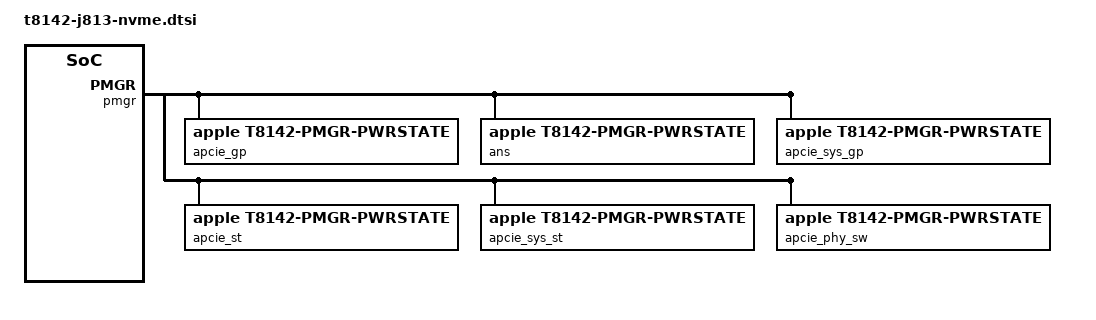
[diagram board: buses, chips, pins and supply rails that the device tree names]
// SPDX-License-Identifier: GPL-2.0+ OR MIT
/*
 * Apple MacBook Air (13-inch, M5) J813 with the internal ANS2 NVMe SSD.
 *
 * Addresses from the J813 ADT (/arm-io/ans, /arm-io/sart-ans, arm-io offset
 * 0x210000000). ANS is an ascwrap-v6 ASC with its mailbox at +0x8000, like the
 * SMC; the SART is coastguard sart-version 3. As on T8140, the NVMe registers
 * are used through the non-secure alias (ADT reg[9]) and the NVMMU through
 * the 0x60000 window (ADT reg[3]). iBoot leaves ANS running with the
 * controller disabled, so the driver wakes it with a fresh RTKit handshake.
 */


&pmgr {
	ps_apcie_gp: power-controller@2f0 {
		compatible = "apple,t8142-pmgr-pwrstate", "apple,t8103-pmgr-pwrstate";
		reg = <0x2f0 4>;
		#power-domain-cells = <0>;
		#reset-cells = <0>;
		label = "apcie_gp";
	};

	ps_ans: power-controller@300 {
		compatible = "apple,t8142-pmgr-pwrstate", "apple,t8103-pmgr-pwrstate";
		reg = <0x300 4>;
		#power-domain-cells = <0>;
		#reset-cells = <0>;
		label = "ans";
		apple,always-on; /* handed over running, cannot be reset */
	};

	ps_apcie_sys_gp: power-controller@408 {
		compatible = "apple,t8142-pmgr-pwrstate", "apple,t8103-pmgr-pwrstate";
		reg = <0x408 4>;
		#power-domain-cells = <0>;
		#reset-cells = <0>;
		label = "apcie_sys_gp";
		power-domains = <&ps_apcie_gp>;
	};

	ps_apcie_st: power-controller@410 {
		compatible = "apple,t8142-pmgr-pwrstate", "apple,t8103-pmgr-pwrstate";
		reg = <0x410 4>;
		#power-domain-cells = <0>;
		#reset-cells = <0>;
		label = "apcie_st";
		power-domains = <&ps_ans>;
	};

	ps_apcie_sys_st: power-controller@520 {
		compatible = "apple,t8142-pmgr-pwrstate", "apple,t8103-pmgr-pwrstate";
		reg = <0x520 4>;
		#power-domain-cells = <0>;
		#reset-cells = <0>;
		label = "apcie_sys_st";
		power-domains = <&ps_ans>, <&ps_apcie_st>;
	};

	ps_apcie_phy_sw: power-controller@560 {
		compatible = "apple,t8142-pmgr-pwrstate", "apple,t8103-pmgr-pwrstate";
		reg = <0x560 4>;
		#power-domain-cells = <0>;
		#reset-cells = <0>;
		label = "apcie_phy_sw";
		power-domains = <&ps_apcie_sys_st>, <&ps_apcie_sys_gp>;
	};
};

&{/soc} {
	ans_mbox: mailbox@481608000 {
		compatible = "apple,t8142-asc-mailbox", "apple,asc-mailbox-v4";
		reg = <0x4 0x81608000 0x0 0x4000>;
		interrupt-parent = <&aic>;
		interrupts = <AIC_IRQ 1143 IRQ_TYPE_LEVEL_HIGH>,
			     <AIC_IRQ 1144 IRQ_TYPE_LEVEL_HIGH>,
			     <AIC_IRQ 1145 IRQ_TYPE_LEVEL_HIGH>,
			     <AIC_IRQ 1146 IRQ_TYPE_LEVEL_HIGH>;
		interrupt-names = "send-empty", "send-not-empty",
				  "recv-empty", "recv-not-empty";
		power-domains = <&ps_ans>;
		#mbox-cells = <0>;
	};

	sart: iommu@485c50000 {
		compatible = "apple,t8142-sart", "apple,t6000-sart";
		reg = <0x4 0x85c50000 0x0 0xc000>;
		power-domains = <&ps_ans>;
	};

	nvme: nvme@4c5cc0000 {
		compatible = "apple,t8142-nvme-ans2", "apple,t8140-nvme-ans2";
		reg = <0x4 0xc5cc0000 0x0 0x30000>,
		      <0x4 0x81600000 0x0 0x4000>,
		      <0x4 0x85cc0000 0x0 0x60000>;
		reg-names = "nvme", "ans", "nvmmu";
		interrupt-parent = <&aic>;
		interrupts = <AIC_IRQ 1155 IRQ_TYPE_LEVEL_HIGH>;
		mboxes = <&ans_mbox>;
		apple,sart = <&sart>;
		power-domains = <&ps_ans>, <&ps_apcie_sys_st>,
				<&ps_apcie_phy_sw>;
		power-domain-names = "ans", "apcie0", "apcie_phy";
		resets = <&ps_ans>;
	};
};
